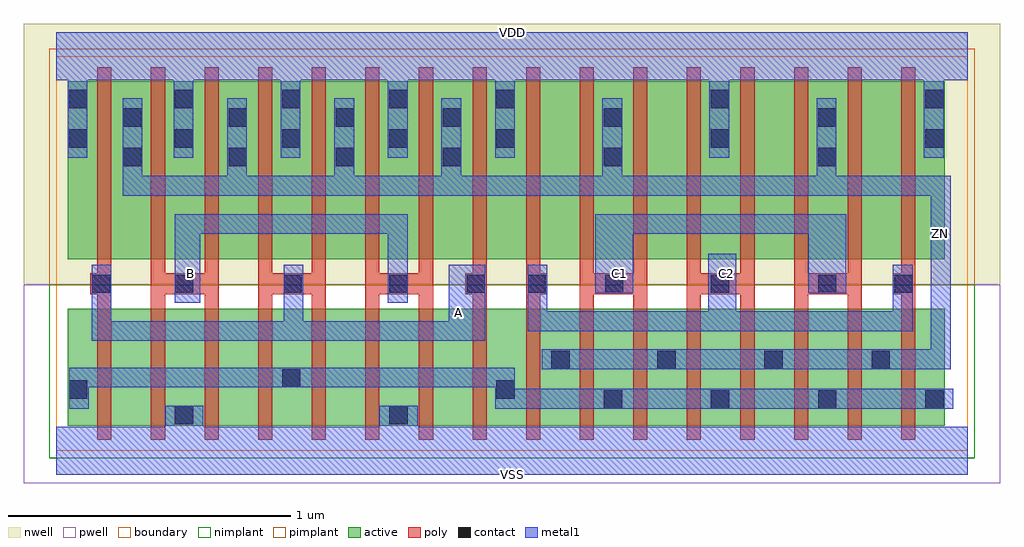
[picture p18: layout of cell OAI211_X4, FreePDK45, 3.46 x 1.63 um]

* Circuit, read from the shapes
.subckt OAI211_X4 A B C1 C2 VDD VSS ZN
M1 n1 A n2 VSUBS nfet w=0.415u l=0.05u
M2 VSS B n1 VSUBS nfet w=0.415u l=0.05u
M3 n3 B VSS VSUBS nfet w=0.415u l=0.05u
M4 n2 A n3 VSUBS nfet w=0.415u l=0.05u
M5 n4 A n2 VSUBS nfet w=0.415u l=0.05u
M6 VSS B n4 VSUBS nfet w=0.415u l=0.05u
M7 n5 B VSS VSUBS nfet w=0.415u l=0.05u
M8 n2 A n5 VSUBS nfet w=0.415u l=0.05u
M9 ZN C2 n2 VSUBS nfet w=0.415u l=0.05u m=4
M10 n2 C1 ZN VSUBS nfet w=0.415u l=0.05u m=4
M11 ZN A VDD n6 pfet w=0.63u l=0.05u m=4
M12 VDD B ZN n6 pfet w=0.63u l=0.05u m=4
M13 n7 C2 VDD n6 pfet w=0.63u l=0.05u
M14 ZN C1 n7 n6 pfet w=0.63u l=0.05u
M15 n8 C1 ZN n6 pfet w=0.63u l=0.05u
M16 VDD C2 n8 n6 pfet w=0.63u l=0.05u
M17 n9 C2 VDD n6 pfet w=0.63u l=0.05u
M18 ZN C1 n9 n6 pfet w=0.63u l=0.05u
M19 n10 C1 ZN n6 pfet w=0.63u l=0.05u
M20 VDD C2 n10 n6 pfet w=0.63u l=0.05u
.ends

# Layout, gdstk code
import gdstk
lib = gdstk.Library(unit=1e-6, precision=5e-10)
def R(c, l, rs):  # rectangles x0, y0, x1, y1
    for r in rs: c.add(gdstk.rectangle(r[:2], r[2:], *l))
def A(c, l, x, y, w, h, nx, ny, dx, dy):  # array of equal rectangles
    R(c, l, [(x+i*dx, y+j*dy, x+i*dx+w, y+j*dy+h) for i in range(nx) for j in range(ny)])
def P(c, l, *ps):  # polygons
    for p in ps: c.add(gdstk.Polygon(p, *l))
active = (1, 0)
pwell = (2, 0)
nwell = (3, 0)
nimplant = (4, 0)
pimplant = (5, 0)
poly = (9, 0)
contact = (10, 0)
metal1 = (11, 0)
boundary = (235, 0)

oai211_x4 = lib.new_cell('OAI211_X4')
R(oai211_x4, active, [(0.04,0.09,3.15,0.505), (0.04,0.68,3.15,1.31)])
R(oai211_x4, pwell, [(-0.115,-0.115,3.345,0.59)])
R(oai211_x4, nwell, [(-0.115,0.59,3.345,1.515)])
R(oai211_x4, nimplant, [(-0.025,-0.025,3.255,0.59)])
R(oai211_x4, pimplant, [(-0.025,0.59,3.255,1.425)])
P(oai211_x4, poly, [(2.965,0.555),(2.995,0.555),(2.995,0.04),(3.045,0.04),(3.045,1.36),(2.995,1.36),(2.995,0.63),(2.965,0.63)],
  [(2.615,0.04),(2.665,0.04),(2.665,0.555),(2.805,0.555),(2.805,0.04),(2.855,0.04),(2.855,1.36),(2.805,1.36),(2.805,0.63),(2.665,0.63),(2.665,1.36),(2.615,1.36)],
  [(2.235,0.04),(2.285,0.04),(2.285,0.555),(2.425,0.555),(2.425,0.04),(2.475,0.04),(2.475,1.36),(2.425,1.36),(2.425,0.63),(2.285,0.63),(2.285,1.36),(2.235,1.36)],
  [(1.855,0.04),(1.905,0.04),(1.905,0.555),(2.045,0.555),(2.045,0.04),(2.095,0.04),(2.095,1.36),(2.045,1.36),(2.045,0.63),(1.905,0.63),(1.905,1.36),(1.855,1.36)],
  [(1.665,0.04),(1.715,0.04),(1.715,0.555),(1.74,0.555),(1.74,0.63),(1.715,0.63),(1.715,1.36),(1.665,1.36)],
  [(1.45,0.555),(1.475,0.555),(1.475,0.04),(1.525,0.04),(1.525,1.36),(1.475,1.36),(1.475,0.63),(1.45,0.63)],
  [(1.095,0.04),(1.145,0.04),(1.145,0.555),(1.285,0.555),(1.285,0.04),(1.335,0.04),(1.335,1.36),(1.285,1.36),(1.285,0.63),(1.145,0.63),(1.145,1.36),(1.095,1.36)],
  [(0.715,0.04),(0.765,0.04),(0.765,0.555),(0.905,0.555),(0.905,0.04),(0.955,0.04),(0.955,1.36),(0.905,1.36),(0.905,0.63),(0.765,0.63),(0.765,1.36),(0.715,1.36)],
  [(0.335,0.04),(0.385,0.04),(0.385,0.555),(0.525,0.555),(0.525,0.04),(0.575,0.04),(0.575,1.36),(0.525,1.36),(0.525,0.63),(0.385,0.63),(0.385,1.36),(0.335,1.36)],
  [(0.12,0.555),(0.145,0.555),(0.145,0.04),(0.195,0.04),(0.195,1.36),(0.145,1.36),(0.145,0.63),(0.12,0.63)])
A(oai211_x4, contact, 1.94, 0.15, 0.065, 0.065, 4, 1, 0.38, 0)
A(oai211_x4, contact, 2.13, 0.29, 0.065, 0.065, 3, 1, 0.38, 0)
A(oai211_x4, contact, 0.61, 1.01, 0.065, 0.065, 3, 2, 0.38, 0.14)
A(oai211_x4, contact, 0.42, 1.075, 0.065, 0.065, 4, 2, 0.38, 0.14)
R(oai211_x4, contact, [(0.42,0.095,0.485,0.16), (1.18,0.095,1.245,0.16), (0.045,0.185,0.11,0.25), (1.56,0.185,1.625,0.25), (0.8,0.225,0.865,0.29), (1.755,0.29,1.82,0.355), (0.125,0.56,0.19,0.625), (0.42,0.56,0.485,0.625), (0.805,0.56,0.87,0.625), (1.18,0.56,1.245,0.625), (1.455,0.56,1.52,0.625), (1.67,0.56,1.735,0.625), (1.945,0.56,2.01,0.625), (2.32,0.56,2.385,0.625), (2.7,0.56,2.765,0.625), (2.97,0.56,3.035,0.625), (0.235,1.01,0.3,1.075), (1.94,1.01,2.005,1.075), (2.7,1.01,2.765,1.075), (0.045,1.075,0.11,1.14), (2.32,1.075,2.385,1.14), (3.08,1.075,3.145,1.14), (0.235,1.15,0.3,1.215), (1.94,1.15,2.005,1.215), (2.7,1.15,2.765,1.215), (0.045,1.215,0.11,1.28), (2.32,1.215,2.385,1.28), (3.08,1.215,3.145,1.28)])
P(oai211_x4, metal1, [(0,-0.085),(3.23,-0.085),(3.23,0.085),(1.28,0.085),(1.28,0.16),(1.145,0.16),(1.145,0.085),(0.52,0.085),(0.52,0.16),(0.385,0.16),(0.385,0.085),(0,0.085)],
  [(0,1.315),(0.04,1.315),(0.04,1.04),(0.11,1.04),(0.11,1.315),(0.415,1.315),(0.415,1.04),(0.485,1.04),(0.485,1.315),(0.795,1.315),(0.795,1.04),(0.865,1.04),(0.865,1.315),(1.175,1.315),(1.175,1.04),(1.245,1.04),(1.245,1.315),(1.555,1.315),(1.555,1.04),(1.625,1.04),(1.625,1.315),(2.315,1.315),(2.315,1.04),(2.385,1.04),(2.385,1.315),(3.075,1.315),(3.075,1.04),(3.145,1.04),(3.145,1.315),(3.23,1.315),(3.23,1.485),(0,1.485)],
  [(0.235,0.905),(3.1,0.905),(3.1,0.36),(1.72,0.36),(1.72,0.29),(3.17,0.29),(3.17,0.975),(2.765,0.975),(2.765,1.25),(2.695,1.25),(2.695,0.975),(2.005,0.975),(2.005,1.25),(1.935,1.25),(1.935,0.975),(1.435,0.975),(1.435,1.25),(1.365,1.25),(1.365,0.975),(1.055,0.975),(1.055,1.25),(0.985,1.25),(0.985,0.975),(0.675,0.975),(0.675,1.25),(0.605,1.25),(0.605,0.975),(0.305,0.975),(0.305,1.25),(0.235,1.25)],
  [(1.67,0.425),(3.035,0.425),(3.035,0.66),(2.965,0.66),(2.965,0.495),(2.41,0.495),(2.41,0.7),(2.31,0.7),(2.31,0.495),(1.74,0.495),(1.74,0.66),(1.67,0.66)],
  [(1.91,0.56),(2.045,0.56),(2.045,0.77),(2.665,0.77),(2.665,0.56),(2.8,0.56),(2.8,0.84),(1.91,0.84)],
  [(0.42,0.525),(0.51,0.525),(0.51,0.77),(1.175,0.77),(1.175,0.525),(1.245,0.525),(1.245,0.84),(0.42,0.84)],
  [(0.125,0.39),(1.52,0.39),(1.52,0.66),(1.39,0.66),(1.39,0.46),(0.875,0.46),(0.875,0.66),(0.805,0.66),(0.805,0.46),(0.195,0.46),(0.195,0.66),(0.125,0.66)],
  [(0,1.315),(0.04,1.315),(0.04,1.04),(0.11,1.04),(0.11,1.315),(0.415,1.315),(0.415,1.04),(0.485,1.04),(0.485,1.315),(0.795,1.315),(0.795,1.04),(0.865,1.04),(0.865,1.315),(1.175,1.315),(1.175,1.04),(1.245,1.04),(1.245,1.315),(1.555,1.315),(1.555,1.04),(1.625,1.04),(1.625,1.315),(2.315,1.315),(2.315,1.04),(2.385,1.04),(2.385,1.315),(3.075,1.315),(3.075,1.04),(3.145,1.04),(3.145,1.315),(3.23,1.315),(3.23,1.485),(0,1.485)],
  [(0,-0.085),(3.23,-0.085),(3.23,0.085),(1.28,0.085),(1.28,0.16),(1.145,0.16),(1.145,0.085),(0.52,0.085),(0.52,0.16),(0.385,0.16),(0.385,0.085),(0,0.085)],
  [(0.045,0.15),(0.115,0.15),(0.115,0.225),(1.555,0.225),(1.555,0.15),(3.18,0.15),(3.18,0.22),(1.625,0.22),(1.625,0.295),(0.045,0.295)],
  [(0.235,0.905),(3.1,0.905),(3.1,0.36),(1.72,0.36),(1.72,0.29),(3.17,0.29),(3.17,0.975),(2.765,0.975),(2.765,1.25),(2.695,1.25),(2.695,0.975),(2.005,0.975),(2.005,1.25),(1.935,1.25),(1.935,0.975),(1.435,0.975),(1.435,1.25),(1.365,1.25),(1.365,0.975),(1.055,0.975),(1.055,1.25),(0.985,1.25),(0.985,0.975),(0.675,0.975),(0.675,1.25),(0.605,1.25),(0.605,0.975),(0.305,0.975),(0.305,1.25),(0.235,1.25)],
  [(1.67,0.425),(3.035,0.425),(3.035,0.66),(2.965,0.66),(2.965,0.495),(2.41,0.495),(2.41,0.7),(2.31,0.7),(2.31,0.495),(1.74,0.495),(1.74,0.66),(1.67,0.66)],
  [(1.91,0.56),(2.045,0.56),(2.045,0.77),(2.665,0.77),(2.665,0.56),(2.8,0.56),(2.8,0.84),(1.91,0.84)],
  [(0.125,0.39),(1.52,0.39),(1.52,0.66),(1.39,0.66),(1.39,0.46),(0.875,0.46),(0.875,0.66),(0.805,0.66),(0.805,0.46),(0.195,0.46),(0.195,0.66),(0.125,0.66)],
  [(0.42,0.525),(0.51,0.525),(0.51,0.77),(1.175,0.77),(1.175,0.525),(1.245,0.525),(1.245,0.84),(0.42,0.84)])
R(oai211_x4, boundary, [(0,0,3.23,1.4)])
oai211_x4.add(gdstk.Label('ZN', (3.135,0.77), layer=11, texttype=0))
oai211_x4.add(gdstk.Label('VSS', (1.615,-0.085), layer=11, texttype=0))
oai211_x4.add(gdstk.Label('VDD', (1.615,1.485), layer=11, texttype=0))
oai211_x4.add(gdstk.Label('C2', (2.375,0.63), layer=11, texttype=0))
oai211_x4.add(gdstk.Label('C1', (1.995,0.63), layer=11, texttype=0))
oai211_x4.add(gdstk.Label('B', (0.475,0.63), layer=11, texttype=0))
oai211_x4.add(gdstk.Label('A', (1.425,0.49), layer=11, texttype=0))

lib.write_gds('OAI211_X4.gds')
